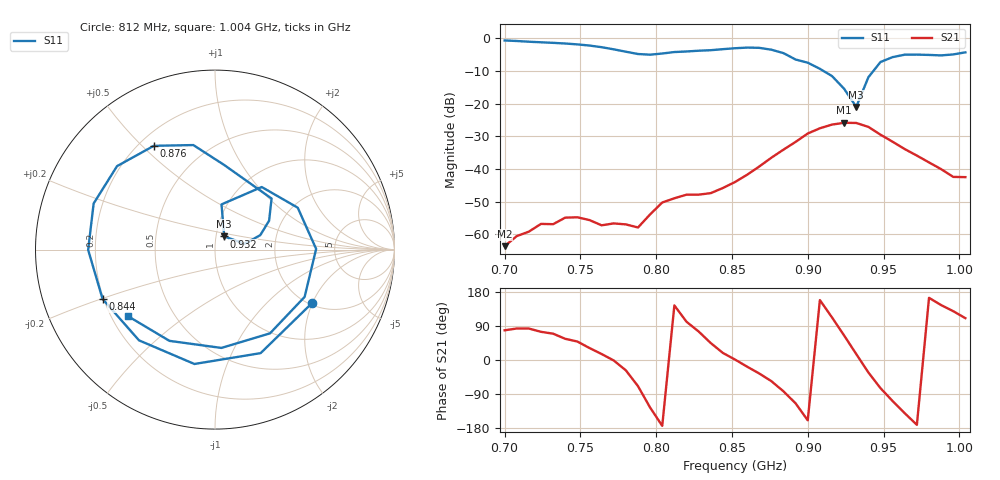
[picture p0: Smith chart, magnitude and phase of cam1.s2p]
# Hz S RI R 50
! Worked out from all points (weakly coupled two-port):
!   39 points, 700 MHz to 1.004 GHz, reference 50 ohm
!   highest |S21| = -25.83 dB at 924 MHz (marker M1); lowest = -63.6 dB at 700 MHz (marker M2)
!   lowest |S11| = -21.0 dB at 932 MHz (marker M3), VSWR 1.20, Z = 54.8 + j8.07 ohm
!   |S11| at or under -10 dB: 910.5 MHz to 943.2 MHz (32.77 MHz wide, 3.54 % of centre)
!   S12 and S22 are empty: the file has one direction only
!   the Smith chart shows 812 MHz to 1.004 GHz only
!   S11 on the Smith chart (normalised r, x): 812 MHz: 2.08, -2.00; 844 MHz: 0.20, -0.20; 876 MHz: 0.26, +0.54; 932 MHz: 1.10, +0.16; 1.004 GHz: 0.27, -0.31
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7e8  0.7639 0.53  0.000133 0.000648  0 0  0 0
7.24e8  0.8309 -0.2636  0.00039 0.0014  0 0  0 0
7.4e8  0.4446 -0.7065  0.00101 0.0015  0 0  0 0
7.56e8  -0.1986 -0.751  0.00141 0.000868  0 0  0 0
7.72e8  -0.653 -0.189  0.00147 -3.27e-05  0 0  0 0
7.8e8  -0.58 0.2337  0.00126 -0.000654  0 0  0 0
7.88e8  -0.2266 0.5303  0.000458 -0.00119  0 0  0 0
7.96e8  0.253 0.5032  -0.00118 -0.00165  0 0  0 0
8.04e8  0.5677 0.1484  -0.00306 -0.000334  0 0  0 0
8.12e8  0.5428 -0.2958  -0.00289 0.0021  0 0  0 0
8.28e8  -0.1148 -0.6373  0.00103 0.00393  0 0  0 0
8.44e8  -0.6264 -0.2749  0.00486 0.00164  0 0  0 0
8.52e8  -0.7067 -0.00135  0.00633 0.000134  0 0  0 0
8.76e8  -0.3408 0.5782  0.00837 -0.0124  0 0  0 0
9e8  0.3152 0.2845  -0.0328 -0.0124  0 0  0 0
9.08e8  0.3016 0.1616  -0.0391 0.0157  0 0  0 0
9.24e8  0.1662 0.0325  0.0219 0.0462  0 0  0 0
9.32e8  0.0516 0.0731  0.0489 0.0137  0 0  0 0
9.4e8  0.0363 0.2518  0.0371 -0.024  0 0  0 0
9.56e8  0.4611 0.2332  -0.00827 -0.0249  0 0  0 0
9.8e8  0.3064 -0.4666  -0.0122 0.00348  0 0  0 0
1.004e9  -0.4871 -0.3695  -0.00262 0.00706  0 0  0 0
